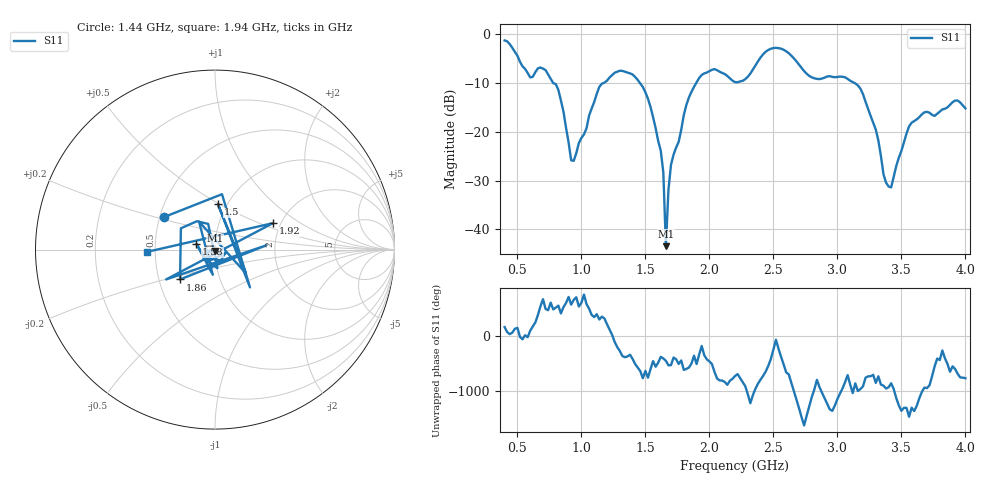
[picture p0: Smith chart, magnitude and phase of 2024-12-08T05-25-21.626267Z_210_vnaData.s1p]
!Created with skrf (http://scikit-rf.org).
# Hz S RI R 50.0
!freq ReS11 ImS11
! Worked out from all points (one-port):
!   181 points, 400 MHz to 4 GHz, reference 50 ohm
!   lowest |S11| = -43.4 dB at 1.66 GHz (marker M1), VSWR 1.01, Z = 50 - j0.674 ohm
!   |S11| at or under -10 dB: 778.7 MHz to 1.176 GHz (397.5 MHz wide, 40.7 % of centre); 1.456 GHz to 1.898 GHz (441.9 MHz wide, 26.3 % of centre); 3.131 GHz to end of sweep
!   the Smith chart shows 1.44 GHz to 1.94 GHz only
!   S11 on the Smith chart (normalised r, x): 1.44 GHz: 0.52, +0.21; 1.5 GHz: 0.91, +0.49; 1.58 GHz: 0.81, +0.05; 1.86 GHz: 0.64, -0.23; 1.92 GHz: 1.82, +0.61; 1.94 GHz: 0.45, -0.01
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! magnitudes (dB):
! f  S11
! 400 MHz  -1.3
! 600 MHz  -8.9
! 720 MHz  -7.4
! 860 MHz  -15.9
! 920 MHz  -25.9
! 940 MHz  -26.0
! 1.14 GHz  -10.8
! 1.3 GHz  -7.5
! 1.44 GHz  -9.4
! 1.5 GHz  -11.9
! 1.58 GHz  -19.3
! 1.64 GHz  -28.3
! 1.66 GHz  -43.4
! 1.68 GHz  -31.9
! 1.7 GHz  -26.8
! 1.76 GHz  -22.1
! 1.86 GHz  -11.8
! 1.92 GHz  -9.0
! 1.94 GHz  -8.4
! 2.2 GHz  -9.8
! 2.48 GHz  -3.0
! 2.66 GHz  -5.0
! 2.8 GHz  -8.9
! 3.1 GHz  -9.6
! 3.2 GHz  -12.3
! 3.4 GHz  -31.2
! 3.56 GHz  -18.9
! 4 GHz  -15.2
